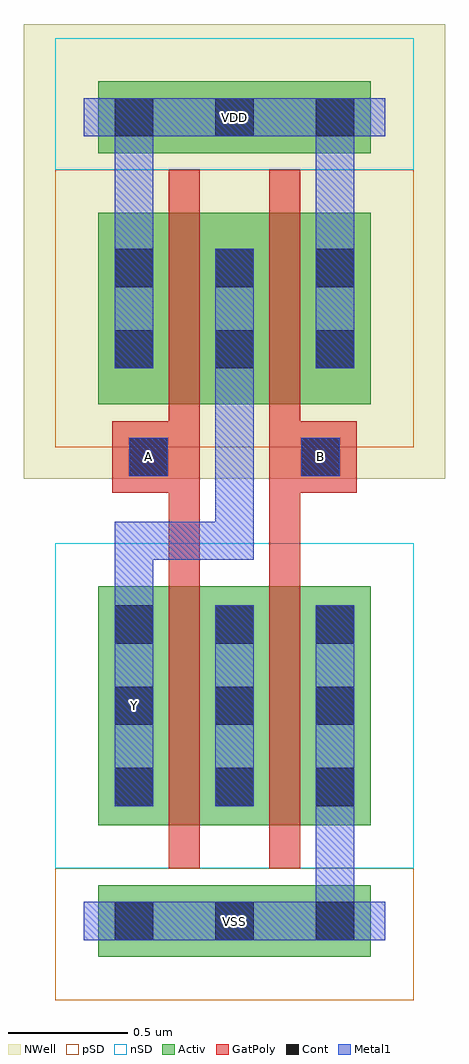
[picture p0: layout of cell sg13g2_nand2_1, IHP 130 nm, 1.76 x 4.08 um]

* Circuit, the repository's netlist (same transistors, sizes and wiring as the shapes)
* sg13g2_nand2_1 -- generated by design/gen_netlists.py from example_config.json; do not edit.
* family nand2, drive 1, L=130n, supply 1.20 V.
* Y = !(A*B)
.subckt sg13g2_nand2_1 A B Y VDD VSS
XMN0 Y A n1 VSS sg13_lv_nmos w=1000n l=130n ng=1 m=1
XMN1 n1 B VSS VSS sg13_lv_nmos w=1000n l=130n ng=1 m=1
XMP0 Y A VDD VDD sg13_lv_pmos w=800n l=130n ng=1 m=1
XMP1 Y B VDD VDD sg13_lv_pmos w=800n l=130n ng=1 m=1
.ends sg13g2_nand2_1

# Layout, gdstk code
import gdstk
lib = gdstk.Library(unit=1e-6, precision=1e-09)
def R(c, l, rs):  # rectangles x0, y0, x1, y1
    for r in rs: c.add(gdstk.rectangle(r[:2], r[2:], *l))
def A(c, l, x, y, w, h, nx, ny, dx, dy):  # array of equal rectangles
    R(c, l, [(x+i*dx, y+j*dy, x+i*dx+w, y+j*dy+h) for i in range(nx) for j in range(ny)])
Activ = (1, 0)
GatPoly = (5, 0)
Cont = (6, 0)
nSD = (7, 0)
Metal1 = (8, 0)
pSD = (14, 0)
NWell = (31, 0)

sg13g2_nand2_1 = lib.new_cell('sg13g2_nand2_1')
R(sg13g2_nand2_1, Activ, [(0.06,-0.15,1.2,0.15), (0.06,0.4,1.2,1.4), (0.06,2.16,1.2,2.96), (0.06,3.21,1.2,3.51)])
R(sg13g2_nand2_1, GatPoly, [(0.355,0.22,0.485,3.14), (0.775,0.22,0.905,3.14), (0.12,1.79,0.485,2.09), (0.775,1.79,1.14,2.09)])
A(sg13g2_nand2_1, Cont, 0.13, -0.08, 0.16, 0.16, 3, 2, 0.42, 0.56)
A(sg13g2_nand2_1, Cont, 0.13, 0.82, 0.16, 0.16, 3, 2, 0.42, 0.34)
A(sg13g2_nand2_1, Cont, 0.13, 2.31, 0.16, 0.16, 3, 2, 0.42, 0.34)
A(sg13g2_nand2_1, Cont, 0.13, 3.28, 0.16, 0.16, 3, 1, 0.42, 0)
R(sg13g2_nand2_1, Cont, [(0.19,1.86,0.35,2.02), (0.91,1.86,1.07,2.02)])
R(sg13g2_nand2_1, nSD, [(-0.12,0.22,1.38,1.58), (-0.12,3.14,1.38,3.69)])
R(sg13g2_nand2_1, Metal1, [(0,-0.08,1.26,0.08), (0.13,-0.08,1.13,0.08), (0.97,-0.08,1.13,1.32), (0.13,0.48,0.29,1.67), (0.55,0.48,0.71,1.32), (0.13,1.51,0.71,1.67), (0.55,1.51,0.71,2.81), (0.19,1.86,0.35,2.02), (0.91,1.86,1.07,2.02), (0.13,2.31,0.29,3.44), (0.97,2.31,1.13,3.44), (0,3.28,1.26,3.44), (0.13,3.28,1.13,3.44)])
R(sg13g2_nand2_1, pSD, [(-0.12,-0.33,1.38,0.22), (-0.12,1.98,1.38,3.14)])
R(sg13g2_nand2_1, NWell, [(-0.25,1.85,1.51,3.75)])
sg13g2_nand2_1.add(gdstk.Label('Y', (0.21,0.9), layer=8, texttype=25))
sg13g2_nand2_1.add(gdstk.Label('A', (0.27,1.94), layer=8, texttype=25))
sg13g2_nand2_1.add(gdstk.Label('VSS', (0.63,0), layer=8, texttype=25))
sg13g2_nand2_1.add(gdstk.Label('VDD', (0.63,3.36), layer=8, texttype=25))
sg13g2_nand2_1.add(gdstk.Label('B', (0.99,1.94), layer=8, texttype=25))

lib.write_gds('sg13g2_nand2_1.gds')
